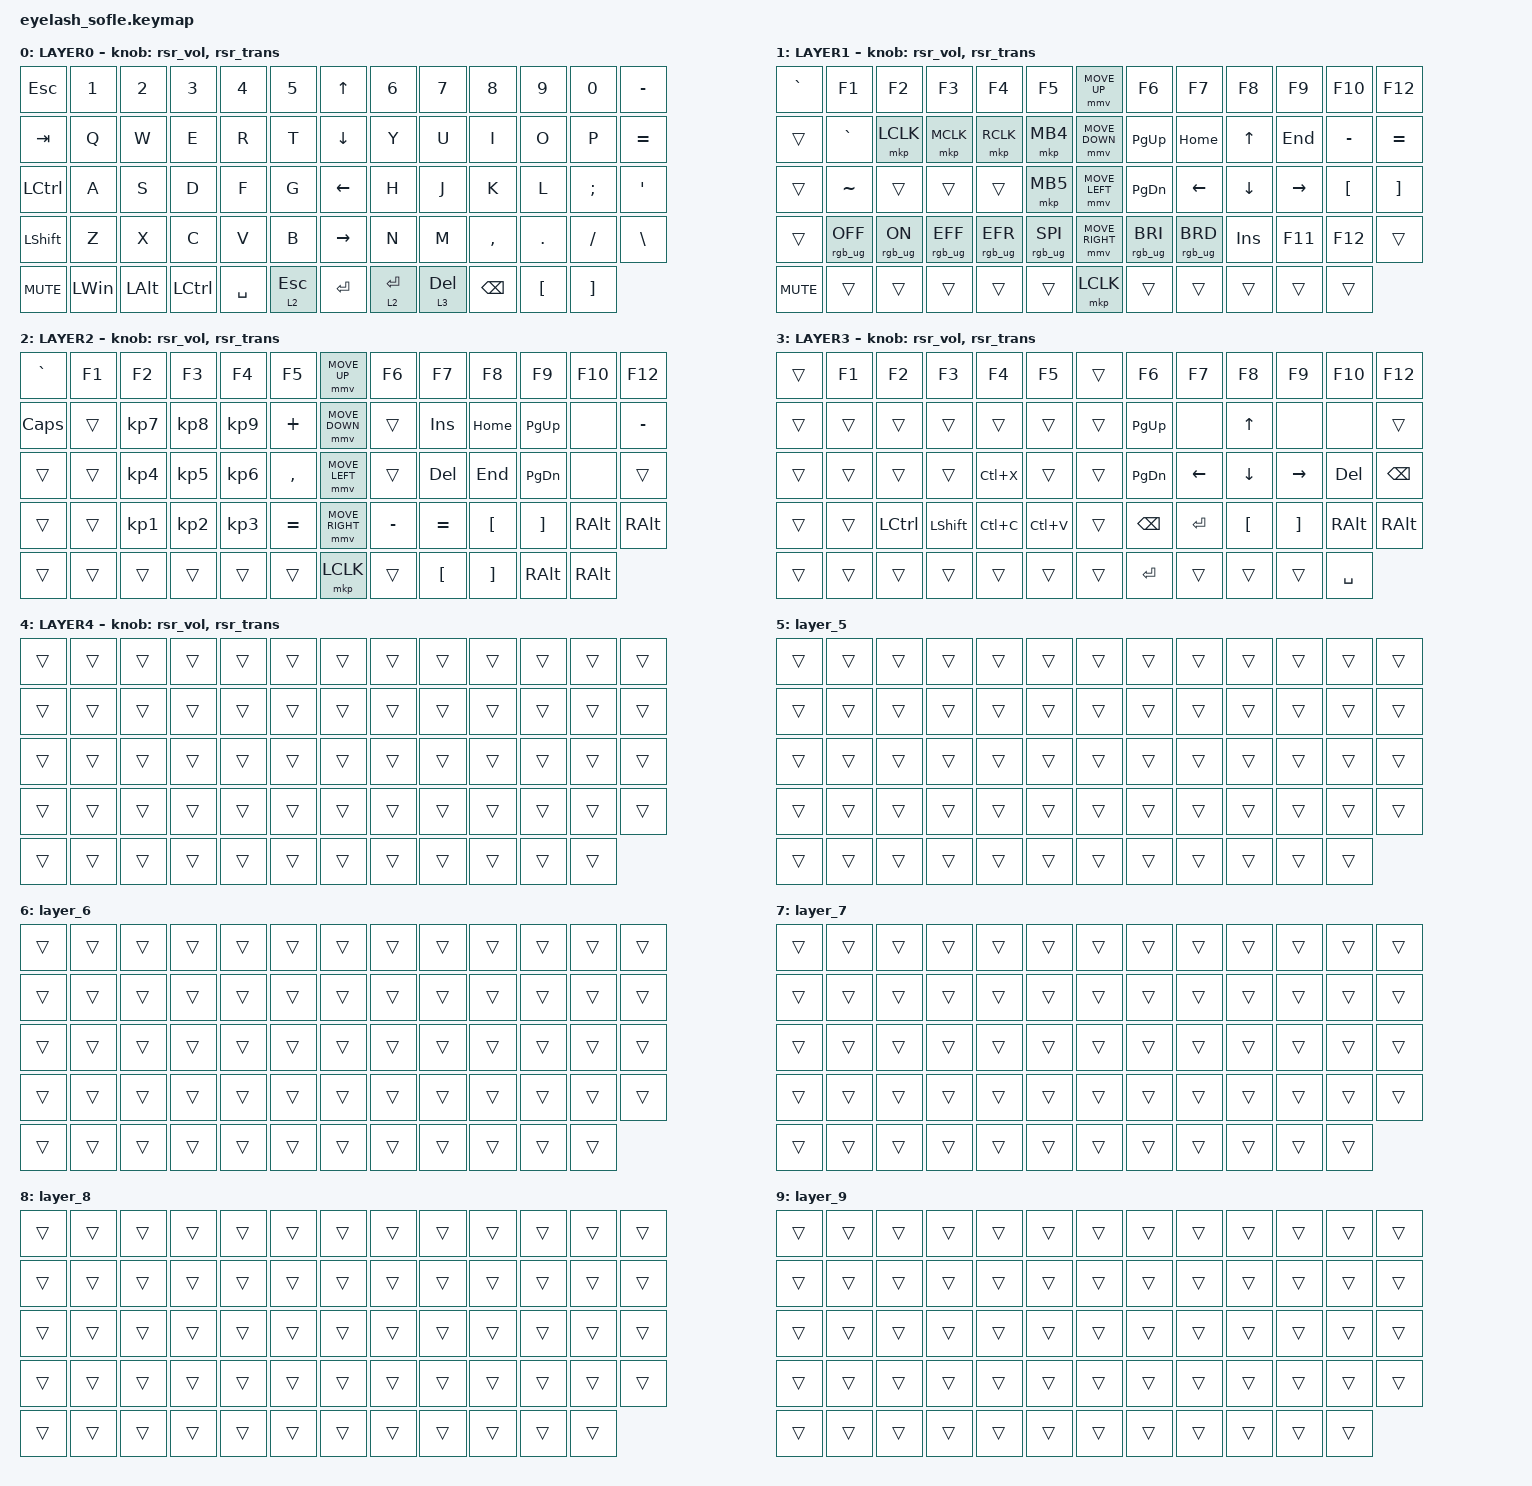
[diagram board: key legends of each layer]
#define ZMK_POINTING_DEFAULT_MOVE_VAL 1200  // 600
#define ZMK_POINTING_DEFAULT_SCRL_VAL 25   // 10

#include <input/processors.dtsi>
#include <zephyr/dt-bindings/input/input-event-codes.h>
#include <behaviors.dtsi>
#include <behaviors/runtime-sensor-rotate.dtsi>
#include <dt-bindings/zmk/bt.h>
#include <dt-bindings/zmk/keys.h>
#include <dt-bindings/zmk/outputs.h>
#include <dt-bindings/zmk/pointing.h>
#include <dt-bindings/zmk/rgb.h>

&mmv_input_listener { input-processors = <&zip_xy_scaler 2 1>; };

&msc_input_listener { input-processors = <&zip_scroll_scaler 2 1>; };

&msc {
    acceleration-exponent = <1>;      // 0
    time-to-max-speed-ms = <100>;       // 300
    delay-ms = <0>;                   // 0
};

&mmv {
    time-to-max-speed-ms = <500>;
    acceleration-exponent = <1>;
    trigger-period-ms = <16>;
};

&soft_off { hold-time-ms = <2000>; };

/ {
    scroll_encoder: scroll_encoder {
        compatible = "zmk,behavior-sensor-rotate";
        #sensor-binding-cells = <0>;
        bindings = <&msc SCRL_DOWN>, <&msc SCRL_UP>;

        tap-ms = <100>;
    };

    behaviors {
        rsr_vol: rsr_vol {
            compatible = "zmk,behavior-runtime-sensor-rotate";
            #sensor-binding-cells = <0>;
            tap-ms = <5>;
            cw-binding = <&kp C_VOL_UP>;
            ccw-binding = <&kp C_VOL_DN>;
        };

        rsr_trans: rsr_trans {
            compatible = "zmk,behavior-runtime-sensor-rotate";
            #sensor-binding-cells = <0>;
            tap-ms = <0>;
        };
    };

    combos {
        compatible = "zmk,combos";

        softoff {
            bindings = <&soft_off>;
            key-positions = <14 28 40>;
        };
    };

    macros {
        SHIFT_MCLK: SHIFT_MCLK {
            compatible = "zmk,behavior-macro";
            #binding-cells = <0>;
            bindings =
                <&macro_press>,
                <&kp LEFT_SHIFT>,
                <&macro_press>,
                <&mkp MB3>,
                <&macro_pause_for_release>,
                <&macro_release>,
                <&kp LEFT_SHIFT &mkp MB3>;

            label = "SHIFT_MCLK";
        };
    };

    combos {
        compatible = "zmk,combos";

        RightAlt {
            bindings = <&kp RIGHT_ALT>;
            key-positions = <39 56>;
        };
    };

    keymap {
        compatible = "zmk,keymap";

        layer0 {
            bindings = <
&kp ESC     &kp N1        &kp N2        &kp N3     &kp N4     &kp N5       &kp UP_ARROW     &kp N6       &kp N7        &kp N8         &kp N9            &kp N0             &kp MINUS
&kp TAB     &kp Q         &kp W         &kp E      &kp R      &kp T        &kp DOWN_ARROW   &kp Y        &kp U         &kp I          &kp O             &kp P              &kp EQUAL
&kp LCTRL   &kp A         &kp S         &kp D      &kp F      &kp G        &kp LEFT_ARROW   &kp H        &kp J         &kp K          &kp L             &kp SEMI           &kp APOS
&kp LSHFT   &kp Z         &kp X         &kp C      &kp V      &kp B        &kp RIGHT_ARROW  &kp N        &kp M         &kp COMMA      &kp DOT           &kp FSLH           &kp BACKSLASH
&kp C_MUTE  &kp LEFT_WIN  &kp LEFT_ALT  &kp LCTRL  &kp SPACE  &lt 2 ESC    &kp ENTER        &lt 2 ENTER  &lt 3 DELETE  &kp BACKSPACE  &kp LEFT_BRACKET  &kp RIGHT_BRACKET
            >;

            sensor-bindings = <&rsr_vol &rsr_trans>;
            display-name = "LAYER0";
        };

        layer_1 {
            bindings = <
&kp GRAVE   &kp F1           &kp F2          &kp F3           &kp F4           &kp F5             &mmv MOVE_UP     &kp F6           &kp F7           &kp F8      &kp F9     &kp F10           &kp F12
&trans      &kp GRAVE        &mkp LCLK       &mkp MCLK        &mkp RCLK        &mkp MB4           &mmv MOVE_DOWN   &kp PG_UP        &kp HOME         &kp UP      &kp END    &kp MINUS         &kp EQUAL
&trans      &kp TILDE        &trans          &trans           &trans           &mkp MB5           &mmv MOVE_LEFT   &kp PG_DN        &kp LEFT         &kp DOWN    &kp RIGHT  &kp LEFT_BRACKET  &kp RIGHT_BRACKET
&trans      &rgb_ug RGB_OFF  &rgb_ug RGB_ON  &rgb_ug RGB_EFF  &rgb_ug RGB_EFR  &rgb_ug RGB_SPI    &mmv MOVE_RIGHT  &rgb_ug RGB_BRI  &rgb_ug RGB_BRD  &kp INSERT  &kp F11    &kp F12           &trans
&kp C_MUTE  &trans           &trans          &trans           &trans           &trans             &mkp LCLK        &trans           &trans           &trans      &trans     &trans
            >;

            sensor-bindings = <&rsr_vol &rsr_trans>;
            display-name = "LAYER1";
        };

        layer_2 {
            bindings = <
&kp GRAVE  &kp F1  &kp F2           &kp F3           &kp F4           &kp F5       &mmv MOVE_UP     &kp F6     &kp F7            &kp F8             &kp F9             &kp F10        &kp F12
&kp CAPS   &trans  &kp KP_N7        &kp KP_NUMBER_8  &kp KP_NUMBER_9  &kp PLUS     &mmv MOVE_DOWN   &trans     &kp INS           &kp HOME           &kp PAGE_UP        &none          &kp MINUS
&trans     &trans  &kp KP_NUMBER_4  &kp KP_NUMBER_5  &kp KP_NUMBER_6  &kp COMMA    &mmv MOVE_LEFT   &trans     &kp DEL           &kp END            &kp PAGE_DOWN      &none          &trans
&trans     &trans  &kp KP_NUMBER_1  &kp KP_NUMBER_2  &kp KP_NUMBER_3  &kp EQUAL    &mmv MOVE_RIGHT  &kp MINUS  &kp EQUAL         &kp LEFT_BRACKET   &kp RIGHT_BRACKET  &kp RALT       &kp RIGHT_ALT
&trans     &trans  &trans           &trans           &trans           &trans       &mkp LCLK        &trans     &kp LEFT_BRACKET  &kp RIGHT_BRACKET  &kp RALT           &kp RIGHT_ALT
            >;

            display-name = "LAYER2";
            sensor-bindings = <&rsr_vol &rsr_trans>;
        };

        layer_3 {
            bindings = <
&trans  &trans  &trans  &trans  &trans  &trans    &trans  &trans  &trans  &trans  &trans  &trans  &trans
&trans  &trans  &trans  &trans  &trans  &trans    &trans  &trans  &trans  &trans  &trans  &trans  &trans
&trans  &trans  &trans  &trans  &trans  &trans    &trans  &trans  &trans  &trans  &trans  &trans  &trans
&trans  &trans  &trans  &trans  &trans  &trans    &trans  &trans  &trans  &trans  &trans  &trans  &trans
&trans  &trans  &trans  &trans  &trans  &trans    &trans  &trans  &trans  &trans  &trans  &trans
            >;

            display-name = "LAYER3";
            sensor-bindings = <&rsr_vol &rsr_trans>;
        };

        layer_4 {
            bindings = <
&trans  &trans  &trans  &trans  &trans  &trans    &trans  &trans  &trans  &trans  &trans  &trans  &trans
&trans  &trans  &trans  &trans  &trans  &trans    &trans  &trans  &trans  &trans  &trans  &trans  &trans
&trans  &trans  &trans  &trans  &trans  &trans    &trans  &trans  &trans  &trans  &trans  &trans  &trans
&trans  &trans  &trans  &trans  &trans  &trans    &trans  &trans  &trans  &trans  &trans  &trans  &trans
&trans  &trans  &trans  &trans  &trans  &trans    &trans  &trans  &trans  &trans  &trans  &trans
            >;

            display-name = "LAYER4";
            sensor-bindings = <&rsr_vol &rsr_trans>;
        };

        layer_3 {
            bindings = <
&trans  &kp F1  &kp F2     &kp F3     &kp F4     &kp F5       &trans  &kp F6         &kp F7     &kp F8        &kp F9     &kp F10        &kp F12
&trans  &trans  &trans     &trans     &trans     &trans       &trans  &kp PAGE_UP    &none      &kp UP_ARROW  &none      &none          &trans
&trans  &trans  &trans     &trans     &kp LC(X)  &trans       &trans  &kp PAGE_DOWN  &kp LEFT   &kp DOWN      &kp RIGHT  &kp DELETE     &kp BSPC
&trans  &trans  &kp LCTRL  &kp LSHFT  &kp LC(C)  &kp LC(V)    &trans  &kp BSPC       &kp ENTER  &kp LBKT      &kp RBKT   &kp RIGHT_ALT  &kp RALT
&trans  &trans  &trans     &trans     &trans     &trans       &trans  &kp ENTER      &trans     &trans        &trans     &kp SPACE
            >;
        };

        layer_4 {
            bindings = <
&trans  &trans  &trans  &trans  &trans  &trans    &trans  &trans  &trans  &trans  &trans  &trans  &trans
&trans  &trans  &trans  &trans  &trans  &trans    &trans  &trans  &trans  &trans  &trans  &trans  &trans
&trans  &trans  &trans  &trans  &trans  &trans    &trans  &trans  &trans  &trans  &trans  &trans  &trans
&trans  &trans  &trans  &trans  &trans  &trans    &trans  &trans  &trans  &trans  &trans  &trans  &trans
&trans  &trans  &trans  &trans  &trans  &trans    &trans  &trans  &trans  &trans  &trans  &trans
            >;
        };

        layer_5 {
            bindings = <
&trans  &trans  &trans  &trans  &trans  &trans    &trans  &trans  &trans  &trans  &trans  &trans  &trans
&trans  &trans  &trans  &trans  &trans  &trans    &trans  &trans  &trans  &trans  &trans  &trans  &trans
&trans  &trans  &trans  &trans  &trans  &trans    &trans  &trans  &trans  &trans  &trans  &trans  &trans
&trans  &trans  &trans  &trans  &trans  &trans    &trans  &trans  &trans  &trans  &trans  &trans  &trans
&trans  &trans  &trans  &trans  &trans  &trans    &trans  &trans  &trans  &trans  &trans  &trans
            >;
        };

        layer_6 {
            bindings = <
&trans  &trans  &trans  &trans  &trans  &trans    &trans  &trans  &trans  &trans  &trans  &trans  &trans
&trans  &trans  &trans  &trans  &trans  &trans    &trans  &trans  &trans  &trans  &trans  &trans  &trans
&trans  &trans  &trans  &trans  &trans  &trans    &trans  &trans  &trans  &trans  &trans  &trans  &trans
&trans  &trans  &trans  &trans  &trans  &trans    &trans  &trans  &trans  &trans  &trans  &trans  &trans
&trans  &trans  &trans  &trans  &trans  &trans    &trans  &trans  &trans  &trans  &trans  &trans
            >;
        };

        layer_7 {
            bindings = <
&trans  &trans  &trans  &trans  &trans  &trans    &trans  &trans  &trans  &trans  &trans  &trans  &trans
&trans  &trans  &trans  &trans  &trans  &trans    &trans  &trans  &trans  &trans  &trans  &trans  &trans
&trans  &trans  &trans  &trans  &trans  &trans    &trans  &trans  &trans  &trans  &trans  &trans  &trans
&trans  &trans  &trans  &trans  &trans  &trans    &trans  &trans  &trans  &trans  &trans  &trans  &trans
&trans  &trans  &trans  &trans  &trans  &trans    &trans  &trans  &trans  &trans  &trans  &trans
            >;
        };

        layer_8 {
            bindings = <
&trans  &trans  &trans  &trans  &trans  &trans    &trans  &trans  &trans  &trans  &trans  &trans  &trans
&trans  &trans  &trans  &trans  &trans  &trans    &trans  &trans  &trans  &trans  &trans  &trans  &trans
&trans  &trans  &trans  &trans  &trans  &trans    &trans  &trans  &trans  &trans  &trans  &trans  &trans
&trans  &trans  &trans  &trans  &trans  &trans    &trans  &trans  &trans  &trans  &trans  &trans  &trans
&trans  &trans  &trans  &trans  &trans  &trans    &trans  &trans  &trans  &trans  &trans  &trans
            >;
        };

        layer_9 {
            bindings = <
&trans  &trans  &trans  &trans  &trans  &trans    &trans  &trans  &trans  &trans  &trans  &trans  &trans
&trans  &trans  &trans  &trans  &trans  &trans    &trans  &trans  &trans  &trans  &trans  &trans  &trans
&trans  &trans  &trans  &trans  &trans  &trans    &trans  &trans  &trans  &trans  &trans  &trans  &trans
&trans  &trans  &trans  &trans  &trans  &trans    &trans  &trans  &trans  &trans  &trans  &trans  &trans
&trans  &trans  &trans  &trans  &trans  &trans    &trans  &trans  &trans  &trans  &trans  &trans
            >;
        };
    };
};
